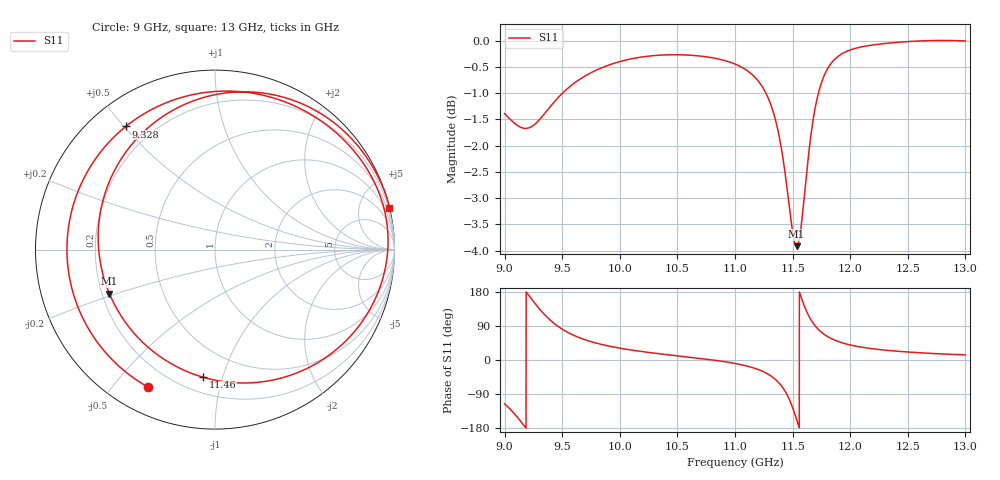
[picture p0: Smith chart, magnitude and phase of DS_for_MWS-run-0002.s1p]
! TOUCHSTONE file generated by CST DESIGN STUDIO
! Date and time: Tue Feb  4 16:41:31 2025
! Project name: C:\Work\MatlabApps\UnitCellOptimizationMatlab\CST\unitcell.cst
! Tree item: Tasks\Sweep1\SPara1\S-Parameters
! Header version: 2024
! Port assignment regex: !\s*Touchstone port\s*([0-9]+)\s*=\s*(CST MWS port|CST DES external port|CST DES block port)\s*(.+)\s* \(\"(.*)\"\)(\s*mode\s*([0-9]+))?.*
! Touchstone port assignment:
! Touchstone port 1 = CST DES external port 1 ("")
# GHz S MA R 50
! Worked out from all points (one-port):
!   4001 points, 9 GHz to 13 GHz, reference 50 ohm
!   lowest |S11| = -3.9 dB at 11.54 GHz (marker M1), VSWR 4.52, Z = 11.5 - j9.52 ohm
!   |S11| at or under -10 dB: nowhere
!   S11 on the Smith chart (normalised r, x): 9 GHz: 0.11, -0.62; 9.328 GHz: 0.10, +0.51; 11.46 GHz: 0.30, -0.87; 13 GHz: 0.03, +8.50
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9  0.852 -115.8
9.083  0.8348 -141.0
9.177  0.8249 -176.4
9.245  0.8296 156.4
9.328  0.8471 125.9
9.406  0.8678 102.6
9.5  0.8906 81.4
9.598  0.9098 65.4
9.708  0.9265 52.4
10  0.9548 31.2
10.5  0.9693 11.0
11  0.9498 -9.1
11.176  0.9219 -22.4
11.294  0.8785 -38.6
11.381  0.813 -60.2
11.458  0.7143 -95.3
11.5  0.6578 -125.7
11.535  0.6374 -157.3
11.564  0.6534 175.0
11.593  0.6955 149.4
11.637  0.776 118.3
11.684  0.8482 94.8
11.746  0.9086 74.4
11.814  0.9442 60.0
11.896  0.966 48.8
12  0.9795 39.7
12.5  0.9976 21.1
13  0.9991 13.4
